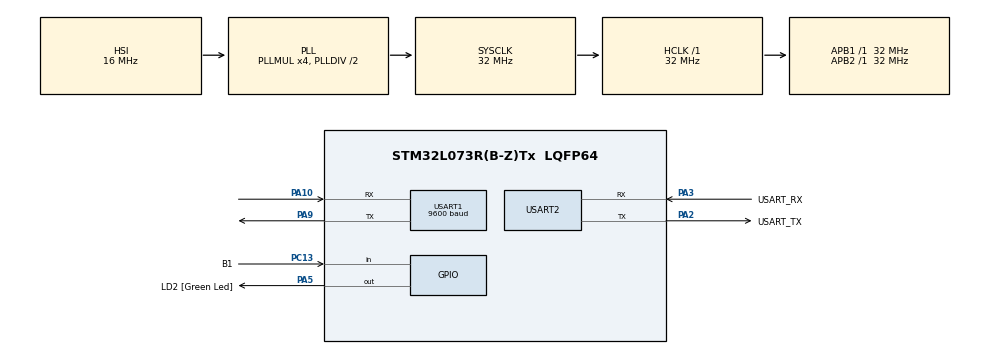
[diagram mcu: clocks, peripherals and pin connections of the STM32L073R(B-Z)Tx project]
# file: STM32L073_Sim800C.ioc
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Mcu.Family=STM32L0
Mcu.Name=STM32L073R(B-Z)Tx
Mcu.Package=LQFP64
NVIC.TIM6_DAC_IRQn=true\:0\:0\:false\:false\:true\:true\:true\:true
NVIC.TIM7_IRQn=true\:0\:0\:false\:false\:true\:true\:true\:true
NVIC.USART1_IRQn=true\:0\:0\:false\:false\:true\:true\:true\:true
PA10.Mode=Asynchronous
PA10.Signal=USART1_RX
PA13.GPIO_Label=TMS
PA13.Signal=SYS_SWDIO
PA14.GPIO_Label=TCK
PA14.Signal=SYS_SWCLK
PA2.GPIO_Label=USART_TX
PA2.Mode=Asynchronous
PA2.Signal=USART2_TX
PA3.GPIO_Label=USART_RX
PA3.Mode=Asynchronous
PA3.Signal=USART2_RX
PA5.GPIO_Label=LD2 [Green Led]
PA5.Signal=GPIO_Output
PA9.Mode=Asynchronous
PA9.Signal=USART1_TX
PC13.GPIO_Label=B1
PC13.Signal=GPIO_Input
PC14-OSC32_IN.Signal=RCC_OSC32_IN
PC15-OSC32_OUT.Signal=RCC_OSC32_OUT
PH0-OSC_IN.GPIO_Label=MCO
PH0-OSC_IN.Signal=RCC_OSC_IN
ProjectManager.HeapSize=0x200
ProjectManager.StackSize=0x400
ProjectManager.TargetToolchain=STM32CubeIDE
RCC.AHBFreq_Value=32000000
RCC.APB1Freq_Value=32000000
RCC.APB1TimFreq_Value=32000000
RCC.APB2Freq_Value=32000000
RCC.APB2TimFreq_Value=32000000
RCC.HCLKFreq_Value=32000000
RCC.HSE_VALUE=8000000
RCC.HSI16_VALUE=16000000
RCC.HSI48_VALUE=48000000
RCC.HSI_VALUE=16000000
RCC.LSEState=RCC_LSE_ON
RCC.LSE_VALUE=32768
RCC.MSI_VALUE=2097000
RCC.PLLMUL=RCC_PLLMUL_4
RCC.SYSCLKFreq_VALUE=32000000
RCC.SYSCLKSource=RCC_SYSCLKSOURCE_PLLCLK
RCC.VCOOutputFreq_Value=64000000
TIM6.Period=10
TIM6.Prescaler=31999
TIM7.Prescaler=31999
USART1.BaudRate=9600
USART1.VirtualMode-Asynchronous=VM_ASYNC
USART2.VirtualMode-Asynchronous=VM_ASYNC
VP_TIM6_VS_ClockSourceINT.Mode=Enable_Timer
VP_TIM7_VS_ClockSourceINT.Mode=Enable_Timer
board=NUCLEO-L073RZ

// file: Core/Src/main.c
/* USER CODE BEGIN Header */
/**
 ******************************************************************************
 * @file           : main.c
 * @brief          : Main program body
 ******************************************************************************
 * @attention
 *
 * Copyright (c) 2024 STMicroelectronics.
 * All rights reserved.
 *
 * This software is licensed under terms that can be found in the LICENSE file
 * in the root directory of this software component.
 * If no LICENSE file comes with this software, it is provided AS-IS.
 *
 ******************************************************************************
 */
/* USER CODE END Header */
#include "main.h"

/* USER CODE BEGIN Includes */
#include "debug.h"
#include <stdio.h>
#include <string.h>
#include "flash_ops.h"
/* USER CODE END Includes */

/* USER CODE BEGIN PM */
#define B1_GPIO_Port   GPIOC
#define B1_Pin         GPIO_PIN_13
/* USER CODE END PM */

TIM_HandleTypeDef htim6;
TIM_HandleTypeDef htim7;

UART_HandleTypeDef huart1;
UART_HandleTypeDef huart2;

/* USER CODE BEGIN PV */
static const char *TAG = "GSM";
volatile uint32_t timer_cnt = 0;
char OK_STR[] = "OK\r\n";
char ERROR_STR[] = "ERROR\r\n";

const uint32_t OTA_FW_CHUNK_SIZE  = 1024;
uint8_t rx_byte;
uint16_t rx_idx;
volatile uint8_t rx_complete = 0;
char uart_rx_buff[2048];

const char root_ca[] = "-----BEGIN CERTIFICATE-----"
		"MIIDQTCCAimgAwIBAgITBmyfz5m/jAo54vB4ikPmljZbyjANBgkqhkiG9w0BAQsF"
		"ADA5MQswCQYDVQQGEwJVUzEPMA0GA1UEChMGQW1hem9uMRkwFwYDVQQDExBBbWF6"
		"b24gUm9vdCBDQSAxMB4XDTE1MDUyNjAwMDAwMFoXDTM4MDExNzAwMDAwMFowOTEL"
		"MAkGA1UEBhMCVVMxDzANBgNVBAoTBkFtYXpvbjEZMBcGA1UEAxMQQW1hem9uIFJv"
		"b3QgQ0EgMTCCASIwDQYJKoZIhvcNAQEBBQADggEPADCCAQoCggEBALJ4gHHKeNXj"
		"ca9HgFB0fW7Y14h29Jlo91ghYPl0hAEvrAIthtOgQ3pOsqTQNroBvo3bSMgHFzZM"
		"9O6II8c+6zf1tRn4SWiw3te5djgdYZ6k/oI2peVKVuRF4fn9tBb6dNqcmzU5L/qw"
		"IFAGbHrQgLKm+a/sRxmPUDgH3KKHOVj4utWp+UhnMJbulHheb4mjUcAwhmahRWa6"
		"VOujw5H5SNz/0egwLX0tdHA114gk957EWW67c4cX8jJGKLhD+rcdqsq08p8kDi1L"
		"93FcXmn/6pUCyziKrlA4b9v7LWIbxcceVOF34GfID5yHI9Y/QCB/IIDEgEw+OyQm"
		"jgSubJrIqg0CAwEAAaNCMEAwDwYDVR0TAQH/BAUwAwEB/zAOBgNVHQ8BAf8EBAMC"
		"AYYwHQYDVR0OBBYEFIQYzIU07LwMlJQuCFmcx7IQTgoIMA0GCSqGSIb3DQEBCwUA"
		"A4IBAQCY8jdaQZChGsV2USggNiMOruYou6r4lK5IpDB/G/wkjUu0yKGX9rbxenDI"
		"U5PMCCjjmCXPI6T53iHTfIUJrU6adTrCC2qJeHZERxhlbI1Bjjt/msv0tadQ1wUs"
		"N+gDS63pYaACbvXy8MWy7Vu33PqUXHeeE6V/Uq2V8viTO96LXFvKWlJbYK8U90vv"
		"o/ufQJVtMVT8QtPHRh8jrdkPSHCa2XV4cdFyQzR1bldZwgJcJmApzyMZFo6IQ6XU"
		"5MsI+yMRQ+hDKXJioaldXgjUkK642M4UwtBV8ob2xJNDd2ZhwLnoQdeXeGADbkpy"
		"rqXRfboQnoZsG4q5WTP468SQvvG5"
		"-----END CERTIFICATE-----";
/* USER CODE END PV */

void SystemClock_Config(void);
static void MX_GPIO_Init(void);
static void MX_USART1_UART_Init(void);
static void MX_USART2_UART_Init(void);
static void MX_TIM7_Init(void);
static void MX_TIM6_Init(void);
/* USER CODE BEGIN PFP */
void jump_to_app(void);
void Send_AT(char *cmd);
uint8_t check_response(uint32_t time_out);
uint8_t check_response_with_arg(uint32_t time_out, char *r1, char *r2);
uint8_t gsm_modem_check(void);
void gsm_modem_init(void);
void gsm_gprs_init(void);
void gsm_http_get(void);
void print_rx_buffer(void);
/* USER CODE END PFP */

/* USER CODE BEGIN 0 */
typedef enum {
	AT_OK, AT_ERROR, AT_TIMEOUT, AT_R1, AT_R2
} AT_ErrorCode_t;
/* USER CODE END 0 */

int main(void) {

	/* MCU Configuration--------------------------------------------------------*/

	/* Reset of all peripherals, Initializes the Flash interface and the Systick. */
	HAL_Init();

	/* Configure the system clock */
	SystemClock_Config();

	/* Initialize all configured peripherals */
	MX_GPIO_Init();
	MX_USART1_UART_Init();
	MX_USART2_UART_Init();
	MX_TIM7_Init();
	MX_TIM6_Init();
	/* USER CODE BEGIN 2 */
	DEBUG_LOG("BL", "Bootloader v0.4");
	DEBUG_LOG("BL", "Press user button for firmware upgrade");
	uint8_t btn_state = HAL_GPIO_ReadPin(B1_GPIO_Port, B1_Pin);
	uint32_t last_tick = HAL_GetTick();

	while ((HAL_GetTick() - last_tick) < 3000) {
		btn_state = HAL_GPIO_ReadPin(B1_GPIO_Port, B1_Pin);
		if (btn_state == 0) {
			break;
		}
		HAL_Delay(100);
	}

	HAL_Delay(100);
	btn_state = HAL_GPIO_ReadPin(B1_GPIO_Port, B1_Pin);

	if (btn_state == 0) {
		DEBUG_LOG("BL", "loading app");

		HAL_TIM_Base_MspDeInit(&htim6);
		HAL_TIM_Base_MspDeInit(&htim7);
		HAL_UART_MspDeInit(&huart2);
		HAL_UART_MspDeInit(&huart1);
		__HAL_RCC_GPIOC_CLK_DISABLE();
		__HAL_RCC_GPIOH_CLK_DISABLE();
		__HAL_RCC_GPIOA_CLK_DISABLE();
		HAL_RCC_DeInit();
		HAL_DeInit();
		jump_to_app();
	}
	Send_AT("ATE0\r\n");
	DEBUG_LOG(TAG, "ATE0\r\n");
	HAL_TIM_Base_Start_IT(&htim7);
	HAL_UART_Receive_IT(&huart1, &rx_byte, 1);
	if (gsm_modem_check() != AT_OK) {
		DEBUG_LOG(TAG, "Check Modem Connection or Power");
		while (1)
			;
	}
	gsm_modem_init();
	gsm_gprs_init();
	gsm_http_get();
	/* USER CODE END 2 */

	/* Infinite loop */
	while (1) {

	}
}

void SystemClock_Config(void) {
	RCC_OscInitTypeDef RCC_OscInitStruct = { 0 };
	RCC_ClkInitTypeDef RCC_ClkInitStruct = { 0 };
	RCC_PeriphCLKInitTypeDef PeriphClkInit = { 0 };

	/** Configure the main internal regulator output voltage
	 */
	__HAL_PWR_VOLTAGESCALING_CONFIG(PWR_REGULATOR_VOLTAGE_SCALE1);

	/** Initializes the RCC Oscillators according to the specified parameters
	 * in the RCC_OscInitTypeDef structure.
	 */
	RCC_OscInitStruct.OscillatorType = RCC_OSCILLATORTYPE_HSI;
	RCC_OscInitStruct.HSIState = RCC_HSI_ON;
	RCC_OscInitStruct.HSICalibrationValue = RCC_HSICALIBRATION_DEFAULT;
	RCC_OscInitStruct.PLL.PLLState = RCC_PLL_ON;
	RCC_OscInitStruct.PLL.PLLSource = RCC_PLLSOURCE_HSI;
	RCC_OscInitStruct.PLL.PLLMUL = RCC_PLLMUL_4;
	RCC_OscInitStruct.PLL.PLLDIV = RCC_PLLDIV_2;
	if (HAL_RCC_OscConfig(&RCC_OscInitStruct) != HAL_OK) {
		Error_Handler();
	}

	/** Initializes the CPU, AHB and APB buses clocks
	 */
	RCC_ClkInitStruct.ClockType = RCC_CLOCKTYPE_HCLK | RCC_CLOCKTYPE_SYSCLK
			| RCC_CLOCKTYPE_PCLK1 | RCC_CLOCKTYPE_PCLK2;
	RCC_ClkInitStruct.SYSCLKSource = RCC_SYSCLKSOURCE_PLLCLK;
	RCC_ClkInitStruct.AHBCLKDivider = RCC_SYSCLK_DIV1;
	RCC_ClkInitStruct.APB1CLKDivider = RCC_HCLK_DIV1;
	RCC_ClkInitStruct.APB2CLKDivider = RCC_HCLK_DIV1;

	if (HAL_RCC_ClockConfig(&RCC_ClkInitStruct, FLASH_LATENCY_1) != HAL_OK) {
		Error_Handler();
	}
	PeriphClkInit.PeriphClockSelection = RCC_PERIPHCLK_USART1
			| RCC_PERIPHCLK_USART2;
	PeriphClkInit.Usart1ClockSelection = RCC_USART1CLKSOURCE_PCLK2;
	PeriphClkInit.Usart2ClockSelection = RCC_USART2CLKSOURCE_PCLK1;
	if (HAL_RCCEx_PeriphCLKConfig(&PeriphClkInit) != HAL_OK) {
		Error_Handler();
	}
}

static void MX_TIM6_Init(void) {

	TIM_MasterConfigTypeDef sMasterConfig = { 0 };

	htim6.Instance = TIM6;
	htim6.Init.Prescaler = 31999;
	htim6.Init.CounterMode = TIM_COUNTERMODE_UP;
	htim6.Init.Period = 50;
	htim6.Init.AutoReloadPreload = TIM_AUTORELOAD_PRELOAD_DISABLE;
	if (HAL_TIM_Base_Init(&htim6) != HAL_OK) {
		Error_Handler();
	}
	sMasterConfig.MasterOutputTrigger = TIM_TRGO_RESET;
	sMasterConfig.MasterSlaveMode = TIM_MASTERSLAVEMODE_DISABLE;
	if (HAL_TIMEx_MasterConfigSynchronization(&htim6, &sMasterConfig)
			!= HAL_OK) {
		Error_Handler();
	}

}

static void MX_TIM7_Init(void) {

	TIM_MasterConfigTypeDef sMasterConfig = { 0 };

	htim7.Instance = TIM7;
	htim7.Init.Prescaler = 31999;
	htim7.Init.CounterMode = TIM_COUNTERMODE_UP;
	htim7.Init.Period = 65535;
	htim7.Init.AutoReloadPreload = TIM_AUTORELOAD_PRELOAD_DISABLE;
	if (HAL_TIM_Base_Init(&htim7) != HAL_OK) {
		Error_Handler();
	}
	sMasterConfig.MasterOutputTrigger = TIM_TRGO_RESET;
	sMasterConfig.MasterSlaveMode = TIM_MASTERSLAVEMODE_DISABLE;
	if (HAL_TIMEx_MasterConfigSynchronization(&htim7, &sMasterConfig)
			!= HAL_OK) {
		Error_Handler();
	}

}

static void MX_USART1_UART_Init(void) {

	huart1.Instance = USART1;
	huart1.Init.BaudRate = 9600;
	huart1.Init.WordLength = UART_WORDLENGTH_8B;
	huart1.Init.StopBits = UART_STOPBITS_1;
	huart1.Init.Parity = UART_PARITY_NONE;
	huart1.Init.Mode = UART_MODE_TX_RX;
	huart1.Init.HwFlowCtl = UART_HWCONTROL_NONE;
	huart1.Init.OverSampling = UART_OVERSAMPLING_16;
	huart1.Init.OneBitSampling = UART_ONE_BIT_SAMPLE_DISABLE;
	huart1.AdvancedInit.AdvFeatureInit = UART_ADVFEATURE_NO_INIT;
	if (HAL_UART_Init(&huart1) != HAL_OK) {
		Error_Handler();
	}

}

static void MX_USART2_UART_Init(void) {

	huart2.Instance = USART2;
	huart2.Init.BaudRate = 115200;
	huart2.Init.WordLength = UART_WORDLENGTH_8B;
	huart2.Init.StopBits = UART_STOPBITS_1;
	huart2.Init.Parity = UART_PARITY_NONE;
	huart2.Init.Mode = UART_MODE_TX_RX;
	huart2.Init.HwFlowCtl = UART_HWCONTROL_NONE;
	huart2.Init.OverSampling = UART_OVERSAMPLING_16;
	huart2.Init.OneBitSampling = UART_ONE_BIT_SAMPLE_DISABLE;
	huart2.AdvancedInit.AdvFeatureInit = UART_ADVFEATURE_NO_INIT;
	if (HAL_UART_Init(&huart2) != HAL_OK) {
		Error_Handler();
	}

}

static void MX_GPIO_Init(void) {
	GPIO_InitTypeDef GPIO_InitStruct = { 0 };

	/* GPIO Ports Clock Enable */
	__HAL_RCC_GPIOC_CLK_ENABLE();
	__HAL_RCC_GPIOH_CLK_ENABLE();
	__HAL_RCC_GPIOA_CLK_ENABLE();

	/*Configure GPIO pin Output Level */
	HAL_GPIO_WritePin(LD2_GPIO_Port, LD2_Pin, GPIO_PIN_RESET);

	/*Configure GPIO pin : B1_Pin */
	GPIO_InitStruct.Pin = B1_Pin;
	GPIO_InitStruct.Mode = GPIO_MODE_INPUT;
	GPIO_InitStruct.Pull = GPIO_NOPULL;
	HAL_GPIO_Init(B1_GPIO_Port, &GPIO_InitStruct);

	/*Configure GPIO pin : LD2_Pin */
	GPIO_InitStruct.Pin = LD2_Pin;
	GPIO_InitStruct.Mode = GPIO_MODE_OUTPUT_PP;
	GPIO_InitStruct.Pull = GPIO_NOPULL;
	GPIO_InitStruct.Speed = GPIO_SPEED_FREQ_LOW;
	HAL_GPIO_Init(LD2_GPIO_Port, &GPIO_InitStruct);

}

/* USER CODE BEGIN 4 */

void jump_to_app(void) {
	void (*app_reset_handler)(void);

	SysTick->LOAD = 0;
	SysTick->CTRL = 0;
	SysTick->VAL = 0;
	// get stack pointer of application
	// required if reset handelr in app is not setting sp
//	uint32_t sp_val = (*(volatile uint32_t *)(APP_START_ADDR));
//	__set_MSP(sp_val);
	uint32_t reset_handler_address =
			(*(volatile uint32_t*) (APP_AREA_START_ADDR + 4));
	app_reset_handler = (void*) reset_handler_address;
	app_reset_handler();
}

void Send_AT(char *cmd) {
	HAL_UART_Transmit(&huart1, (uint8_t*) cmd, strlen(cmd), 1000);
	DEBUG_LOG(TAG, cmd);
}

void print_rx_buffer(void) {
	HAL_UART_Transmit(&huart2, (uint8_t *)uart_rx_buff, rx_idx, 1000);
}

uint8_t check_response(uint32_t time_out) {
	rx_idx = 0;
	rx_complete = 0;
	memset(uart_rx_buff, 0, sizeof(uart_rx_buff));
	AT_ErrorCode_t ret = AT_TIMEOUT;
	while (!rx_complete)
		;
	uint32_t t1 = HAL_GetTick();
	do {
		if (strstr(uart_rx_buff, "\r\nOK\r\n") > 0) {
			ret = AT_OK;
			break;
		} else if (strstr(uart_rx_buff, "\r\nERROE\r\n") > 0) {
			ret = AT_ERROR;
			break;
		}
		HAL_Delay(10);
	} while ((HAL_GetTick() - t1) < time_out);
	//DEBUG_LOG(TAG, uart_rx_buff);
//	HAL_UART_Transmit(&huart2,uart_rx_buff,rx_idx, 1000);
	rx_complete = 0;
	return ret;
}

uint8_t check_response_with_arg(uint32_t time_out, char *r1, char *r2) {
	rx_idx = 0;
	rx_complete = 0;
	memset(uart_rx_buff, 0, sizeof(uart_rx_buff));

	AT_ErrorCode_t ret = AT_TIMEOUT;
	while (!rx_complete)
		;
	uint32_t t1 = HAL_GetTick();
	do {
		if (strstr(uart_rx_buff, r1) > 0) {
			ret = AT_R1;
			break;
		} else if (strstr(uart_rx_buff, r2) > 0) {
			ret = AT_R2;
			break;
		}
		HAL_Delay(100);
	} while ((HAL_GetTick() - t1) < time_out);
//	DEBUG_LOG(TAG, uart_rx_buff);
	return ret;
}

void HAL_UART_RxCpltCallback(UART_HandleTypeDef *huart) {
	if (huart->Instance == USART1) {
		uart_rx_buff[rx_idx++] = rx_byte;
		HAL_UART_Receive_IT(&huart1, &rx_byte, 1);
		__HAL_TIM_SetCounter(&htim6, 0);
		HAL_TIM_Base_Start_IT(&htim6);
	}
}

void HAL_TIM_PeriodElapsedCallback(TIM_HandleTypeDef *htim) {
	if (htim->Instance == TIM6) {
		HAL_TIM_Base_Stop_IT(&htim6);
		rx_complete = 1;
	} else if (htim->Instance == TIM7) {
		if (timer_cnt > 0)
			timer_cnt--;
	}
}

//AT+SAPBR=3,1,"Contype","GPRS"	Configure bearer profile 1	OK
//AT+SAPBR=3,1,"APN","CMNET"	Configure the bearer profile APN	OK
//AT+SAPBR=1,1	Open a GPRS context	OK
//AT+SAPBR=2,1	Query a GPRS context	OK
//AT+SAPBR=0,1	Close the GPRS context	OK
//AT+HTTPINIT	Check the HTTP connection status	OK
//AT+HTTPPARA="CID",1	Set parameters for HTTP session	OK
//AT+HTTPPARA="URL","www.sim.com"	Set parameters for HTTP session	OK
//AT+HTTPACTION=0	GET session start	OK
//AT+HTTPREAD	Read the data of the HTTP server	OK
//AT+HTTPTERM	End HTTP service	OK
//if need server authentication, please set AT+SSLOPT=0,0
//If do not need server authentication, please set AT+SSLOPT=0,1
//If need client authentication, please set AT+SSLOPT=1,1
//If do not need client authentication, please

void set_ssl() {
	AT_ErrorCode_t ret;
	Send_AT("AT+SSLOPT=0,1\r\n");
	ret = check_response(2000);

	Send_AT("AT+HTTPSSL=1\r\n");
	ret = check_response(1000);

	Send_AT("AT+SSLSETROOT=\"C:\\USER\\aws_root.CRT\",1206\r\n");
	ret = check_response(1000);
	(void)ret;
}

void gsm_gprs_init(void) {
	AT_ErrorCode_t ret = AT_ERROR;
	uint8_t retry_count = 3;

	Send_AT("AT+SAPBR=3,1,\"Contype\",\"GPRS\"\r\n");
	ret = check_response(20000);
	print_rx_buffer();

	Send_AT("AT+SAPBR=3,1,\"APN\",\"internet\"\r\n");
	ret = check_response(20000);
	print_rx_buffer();

	Send_AT("AT+SAPBR=0,1\r\n");
	ret = check_response(20000);
	print_rx_buffer();

	Send_AT("AT+SAPBR=1,1\r\n");
	ret = check_response(85000);
	print_rx_buffer();

	while (retry_count) {
		Send_AT("AT+SAPBR=2,1\r\n");
		ret = check_response_with_arg(30000, "\r\n+SAPBR: ", "\r\nOK");
		HAL_Delay(1000);
		if (ret == AT_R1 || ret == AT_R2) {
			char *ptr = strstr(uart_rx_buff, "+SAPBR: ");
			HAL_Delay(100);
			int n1, n2;
			char name[512];
			char ip[16] = { 0 };
			int result = sscanf(ptr, "+SAPBR: %d,%d,%s", &n1, &n2, ip);
			(void)result;
			sprintf(name, "n1 %d, n2 %d ip:%s", n1, n2, ip);
			DEBUG_LOG(TAG, name);
			if (strstr(ip, "0.0.0.0") > 0) {
				retry_count--;
			} else {
				retry_count = 3;
				break;
			}
		} else {
			retry_count--;
		}
	}
}

void gsm_http_get(void) {
	AT_ErrorCode_t ret = AT_TIMEOUT;
	Send_AT("AT+HTTPTERM\r\n");
	ret = check_response(1000);
	print_rx_buffer();

	Send_AT("AT+HTTPINIT\r\n");
	ret = check_response(20000);
	print_rx_buffer();

	Send_AT("AT+HTTPPARA=\"CID\",1\r\n");
	ret = check_response(10000);
	print_rx_buffer();
//	Send_AT("AT+HTTPPARA=\"REDIR\",1\r\n");
//	ret = check_response(1000);

	Send_AT("AT+HTTPPARA=\"CONTENT\",\"application/octet-stream\"\r\n");
	ret = check_response(10000);
	print_rx_buffer();
//	Send_AT("AT+HTTPPARA=\"URL\",\"https://stm-ota.s3.amazonaws.com/STM32L073_Application.bin\"\r\n");
	Send_AT(
			"AT+HTTPPARA=\"URL\",\"http://ec2-34-229-18-159.compute-1.amazonaws.com/ota/STM32L073_Application.bin\"\r\n");
	ret = check_response(10000);
	print_rx_buffer();

	Send_AT("AT+HTTPACTION=0\r\n");
	ret = check_response(60000);
	print_rx_buffer();

	uint32_t fw_len;
	uint32_t http_code;
	while (1) {
		HAL_Delay(10);
		if (strstr(uart_rx_buff, "\r\n+HTTPACTION: 0,") > 0) {
			char *ptr = strstr(uart_rx_buff, "+HTTPACTION: ");
			HAL_Delay(100);
			int n;
			char name[512] = { 0 };
			sscanf(ptr, "+HTTPACTION: %d,%ld,%ld", &n, &http_code,
					&fw_len);

			sprintf(name, "n %d, http_code: %ld, fw_len: %ld", n, http_code,
					fw_len);
			DEBUG_LOG(TAG, name);
			DEBUG_LOG(TAG, uart_rx_buff);
			break;
		}
	}

	if (http_code == 200) {
#if 1
		Erasse_Flash(ERASE_APP_AREA);
		uint32_t remain_byte = fw_len;
		uint32_t start_addr = 0;
		uint32_t read_size = OTA_FW_CHUNK_SIZE;
		uint32_t app_addr = APP_AREA_START_ADDR;
#else
		Erasse_Flash(ERASE_DL_AREA);
		uint32_t remain_byte = fw_len;
		uint32_t start_addr = 0;
		uint32_t read_size = OTA_FW_CHUNK_SIZE;
		uint32_t app_addr = DL_AREA_START_ADDR;
#endif

		while (remain_byte) {
			char buff[30];
			sprintf(buff, "AT+HTTPREAD=%ld,%ld\r\n", start_addr, read_size);
			Send_AT(buff);
			ret = check_response_with_arg(50000, "+HTTPREAD:", "\r\nERROR");
			//print_rx_buffer();
			if (ret != AT_R1)
				break;
			uint32_t timer_cnt1 = HAL_GetTick();
			uint32_t diff;
			while (HAL_GetTick() - timer_cnt1 < 5000) {
				char *ptr = strstr(uart_rx_buff, "+HTTPREAD: ");
				if (ptr > 0 && rx_idx >= read_size + 20) {
					int received_len = 0;
					sscanf(ptr, "+HTTPREAD: %d", &received_len);
					if (received_len == read_size) {
						char *ptr2 = strstr(ptr, "\r\n");
						DEBUG_LOG(TAG, "got +HTTPREAD: ");
						diff = ptr2 - ptr;
						if (diff > 12) {
							HAL_Delay(500);
							HAL_UART_Transmit(&huart2, (uint8_t *)&uart_rx_buff[diff + 4],
									read_size, 1000);
							write_to_flash(app_addr, (uint8_t *)&uart_rx_buff[diff + 4],
									read_size);
							break;
						}
					}
				}
			}
			start_addr += read_size;
			remain_byte -= read_size;
			app_addr += read_size;
			if (remain_byte < read_size)
				read_size = remain_byte;
			sprintf(buff, "Remain=%ld,addr:%ld\r\n", remain_byte, start_addr);
			DEBUG_LOG(TAG, buff);
			HAL_Delay(2000);
		}
	}

#if 0

	Send_AT("AT+HTTPREAD\r\n");
	ret = check_response(5000);
	timer_cnt = 5000;
	while (timer_cnt) {
		HAL_Delay(10);
		if (strstr(uart_rx_buff, "+HTTPREAD: ") > 0) {
			DEBUG_LOG(TAG, uart_rx_buff);
			break;
		}
	}
	timer_cnt = 5000;
	while (timer_cnt) {
		if (strstr(uart_rx_buff, "OK") > 0) {
			break;
		}
		DEBUG_LOG(TAG, uart_rx_buff);
		HAL_Delay(10);
	}
#endif

	Send_AT("AT+HTTPTERM\r\n");
	ret = check_response(10000);
	print_rx_buffer();
	(void) ret;
}

uint8_t gsm_modem_check(void) {
	AT_ErrorCode_t ret = AT_TIMEOUT;
	for (uint8_t cnt = 0; cnt < 3; cnt++) {
		Send_AT("ATE0\r\n");
		ret = check_response(10000);
		print_rx_buffer();
		if (ret == AT_OK) {
			break;
		}
	}
	return ret;
}

void gsm_modem_init(void) {
	AT_ErrorCode_t ret = AT_TIMEOUT;
	Send_AT("AT+CPIN?\r\n");
	ret = check_response_with_arg(5000, "+CPIN: READY", "\r\nERROR");
	print_rx_buffer();
	if (ret == AT_R1) {
		DEBUG_LOG(TAG, "SIM Reday");
	} else {
		return;
	}

	Send_AT("AT+CSQ\r\n");
	ret = check_response_with_arg(5000, "+CSQ: ", "\r\nOK");
	print_rx_buffer();
	if (ret != AT_R1)
		return;

	Send_AT("AT+CREG?\r\n");
	ret = check_response_with_arg(5000, "+CREG: 0,1", "+CREG: 0,5");
	print_rx_buffer();
	if (ret != AT_R1 || ret != AT_R2 || ret == AT_TIMEOUT)
		return;

	Send_AT("AT+CGATT?\r\n");
	ret = check_response_with_arg(5000, "+CGATT: 1", "\r\nERROR");
	print_rx_buffer();
	if (ret != AT_R1 || ret != AT_R2 || ret == AT_TIMEOUT)
		return;

	Send_AT("AT+CGATT=1\r\n");
	ret = check_response(10000);
	print_rx_buffer();
	(void) ret;
}

/* USER CODE END 4 */

void Error_Handler(void) {
	__disable_irq();
	while (1) {
	}
}
